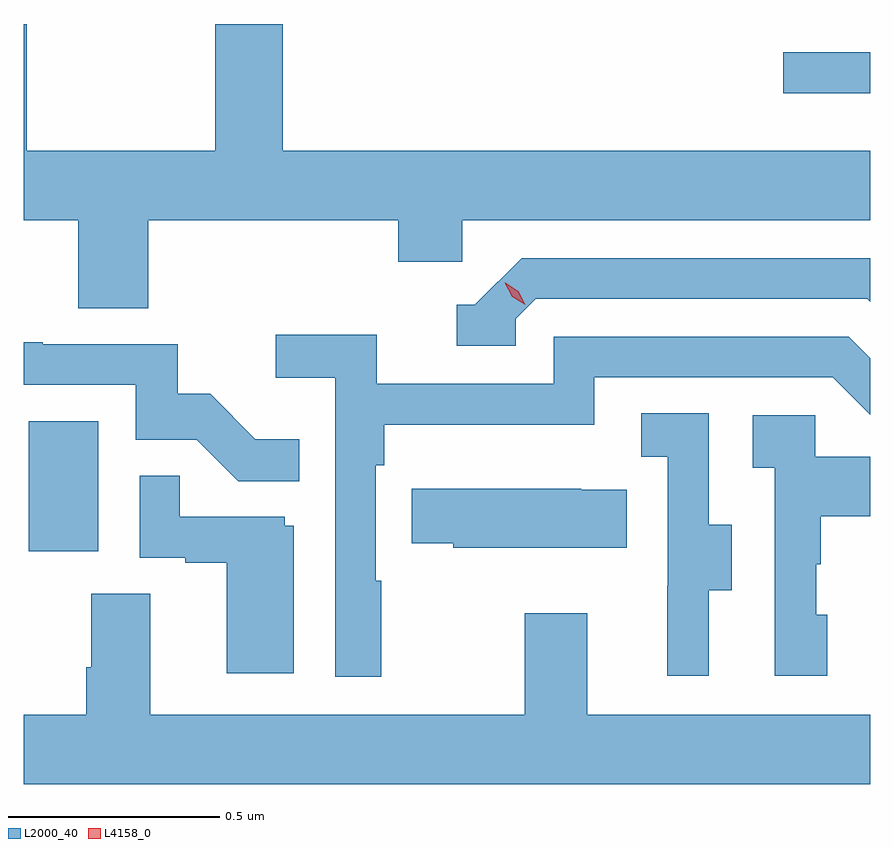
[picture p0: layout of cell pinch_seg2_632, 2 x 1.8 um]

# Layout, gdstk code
import gdstk
lib = gdstk.Library(unit=1e-6, precision=1e-09)
def R(c, l, rs):  # rectangles x0, y0, x1, y1
    for r in rs: c.add(gdstk.rectangle(r[:2], r[2:], *l))
def P(c, l, *ps):  # polygons
    for p in ps: c.add(gdstk.Polygon(p, *l))
L2000_40 = (2000, 40)
L4158_0 = (4158, 0)

pinch_seg2_632 = lib.new_cell('pinch_seg2_632')
R(pinch_seg2_632, L2000_40, [(1029.122,614.886,1029.286,615.193), (1030.905,615.968,1031.11,616.065)])
P(pinch_seg2_632, L2000_40, [(1029.404,615.668),(1029.995,615.668),(1029.995,615.57),(1030.146,615.57),(1030.146,615.668),(1031.11,615.668),(1031.11,615.832),(1029.722,615.832),(1029.722,616.132),(1029.562,616.132),(1029.562,615.832),(1029.117,615.832),(1029.117,616.132),(1029.11,616.132),(1029.11,615.668),(1029.239,615.668),(1029.239,615.46),(1029.404,615.46)],
  [(1030.272,615.435),(1030.32,615.483),(1031.103,615.483),(1031.11,615.476),(1031.11,615.579),(1030.287,615.579),(1030.176,615.468),(1030.133,615.468),(1030.133,615.372),(1030.272,615.372)],
  [(1029.955,614.816),(1029.942,614.816),(1029.942,615.089),(1029.962,615.089),(1029.962,615.185),(1030.458,615.185),(1030.458,615.297),(1031.022,615.297),(1031.11,615.209),(1031.11,615.342),(1031.059,615.393),(1030.362,615.393),(1030.362,615.282),(1029.944,615.282),(1029.944,615.398),(1029.705,615.398),(1029.705,615.296),(1029.846,615.296),(1029.846,614.589),(1029.955,614.589)],
  [(1029.761,615.151),(1029.657,615.151),(1029.55,615.258),(1029.474,615.258),(1029.474,615.375),(1029.155,615.375),(1029.155,615.38),(1029.11,615.38),(1029.11,615.279),(1029.375,615.279),(1029.375,615.15),(1029.519,615.15),(1029.617,615.052),(1029.761,615.052)],
  [(1030.729,614.794),(1030.783,614.794),(1030.783,614.949),(1030.728,614.949),(1030.728,615.212),(1030.569,615.212),(1030.569,615.109),(1030.632,615.109),(1030.632,614.805),(1030.631,614.805),(1030.631,614.592),(1030.729,614.592)],
  [(1031.008,614.736),(1030.983,614.736),(1030.983,614.855),(1030.993,614.855),(1030.993,614.969),(1031.11,614.969),(1031.11,615.109),(1030.98,615.109),(1030.98,615.207),(1030.833,615.207),(1030.833,615.083),(1030.884,615.083),(1030.884,614.592),(1031.008,614.592)],
  [(1029.748,614.946),(1029.726,614.946),(1029.726,614.967),(1029.479,614.967),(1029.479,615.065),(1029.384,615.065),(1029.384,614.871),(1029.491,614.871),(1029.491,614.859),(1029.59,614.859),(1029.59,614.598),(1029.748,614.598)],
  [(1030.535,615.031),(1030.427,615.031),(1030.427,615.034),(1030.027,615.034),(1030.027,614.905),(1030.125,614.905),(1030.125,614.894),(1030.535,614.894)],
  [(1031.11,614.5),(1030.441,614.5),(1030.441,614.74),(1030.294,614.74),(1030.294,614.5),(1029.409,614.5),(1029.409,614.786),(1029.269,614.786),(1029.269,614.612),(1029.257,614.612),(1029.257,614.5),(1029.11,614.5),(1029.11,614.336),(1031.11,614.336)])
P(pinch_seg2_632, L4158_0, [(1030.295,615.468),(1030.264,615.487),(1030.247,615.52),(1030.247,615.52),(1030.248,615.52),(1030.278,615.501),(1030.295,615.468),(1030.295,615.468)])

lib.write_gds('pinch_seg2_632.gds')
